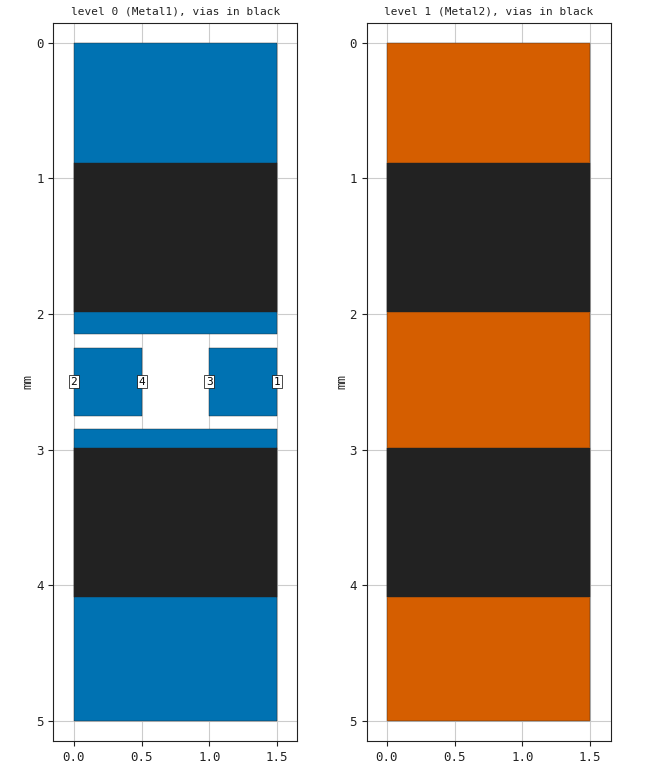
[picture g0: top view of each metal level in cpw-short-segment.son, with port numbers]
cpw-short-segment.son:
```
FTYP SONPROJ 17 ! Sonnet Project File
VER 17.52.2
HEADER
LIC antikernel2.1.48685 3cfdfeabd719 havequick azonenberg
DAT 12/26/2019 12:21:30
BUILT_BY_CREATED xgeom 16.56 07/03/2018 15:05:41
BUILT_BY_SAVED sonnet 17.52.2
MDATE 12/26/2019 12:21:30
HDATE 12/26/2019 12:21:30
ANN _gk:
ANN 
ANN disabled symmetry
ANN dleted lower air layer and internal groundplane
ANN using analysis box bottom cover as groundplane
ANN assigned the via rectangles to the Via1 tech layer
ANN stretched the via ends to connect with the east and west boxwalls
ANN made via rectangles symmetrical about Y
ANN defined new Copper_Gnd normal metal type
ANN changed box bottom cover from freespace to Copper_Gnd
ANN 
ANN _gk2:
ANN 
ANN per Matt crash is caused by incorrect port handling with symmetry, component below the line of symmetry, and ABS.
ANN most efficient workaround is to delete the resistor components below the line of symmetry
ANN then symmetry can still be used
ANN this is what i did in this model
ANN 
ANN 
ANN 
END HEADER
DIM
ANG DEG
CAP PF
CON /OH
FREQ GHZ
IND NH
LNG MM
RES OH
END DIM
CONTROL
VARSWP
OPTIONS  -dj
SPEED 0
CACHE_ABS 1
Q_ACC N
END CONTROL
GEO
SYM
TMET "Free Space" 0 FREESPACE 376.7303136 0 0 0
BMET "Copper_Gnd" 2 NOR 58000000 0 0.035 
MET "Copper" 1 TMM 58000000 0.5 0.035 3
BOX 2 1.5 5 120 400 20 0
      1 1 1 0 0 0 0 "Air"
      0.508 3.66 1 0.0037 0 0 0 "Rogers RO4350B"
      1 1 1 0 0 0 0 "Air"
TECHLAY METAL Metal1 <UNSPECIFIED> -2 0 
0 0 0 N 0 1 1 100 100 0 0 0 Y
END
END
TECHLAY VIA Via1 <UNSPECIFIED> -4 0 
VIA POLYGON
0 0 -1 N 0 1 1 100 100 0 0 0 Y
TOLEVEL 1 RING NOCOVERS
END
END
TECHLAY METAL Metal2 <UNSPECIFIED> -3 0 
1 0 -1 N 0 1 1 100 100 0 0 0 Y
END
END
LORGN 0 250 U 
POR1 BOX
POLY 77 1
1
1 50 0 0 0 1.5 2.5 
POR1 CUP Auto
SIMPLE Y
GNDREF AUTO
TERMW FEED
POLY 77 1
3
3 50 0 0 0 1 2.5 
CUPGRP "Auto" LOCAL
ID 80
END
POR1 BOX
POLY 81 1
3
2 50 0 0 0 0 2.5 
POR1 CUP Auto
SIMPLE Y
GNDREF AUTO
TERMW FEED
POLY 81 1
1
4 50 0 0 0 0.5 2.5 
CUPGRP "Auto" LOCAL
ID 84
END
NUM 7
0 5 0 N 75 1 1 100 100 0 0 0 Y
TLAYNAM Metal1 INH
0 0
1.5 0
1.5 2.15
0 2.15
0 0
END
0 5 0 N 76 1 1 100 100 0 0 0 Y
TLAYNAM Metal1 INH
0 2.85
1.5 2.85
1.5 5
0 5
0 2.85
END
0 5 0 N 77 1 1 100 100 0 0 0 Y
TLAYNAM Metal1 INH
1 2.25
1.5 2.25
1.5 2.75
1 2.75
1 2.25
END
0 5 0 N 81 1 1 100 100 0 0 0 Y
TLAYNAM Metal1 INH
0 2.25
0.5 2.25
0.5 2.75
0 2.75
0 2.25
END
VIA POLYGON
0 5 -1 N 86 1 1 100 100 0 0 0 Y
TOLEVEL 1 RING NOCOVERS
TLAYNAM Via1 INH
0 2.9875
1.5 2.9875
1.5 4.0875
0 4.0875
0 2.9875
END
VIA POLYGON
0 5 -1 N 87 1 1 100 100 0 0 0 Y
TOLEVEL 1 RING NOCOVERS
TLAYNAM Via1 INH
0 0.8875
1.5 0.8875
1.5 1.9875
0 1.9875
0 0.8875
END
1 5 -1 N 90 1 1 100 100 0 0 0 Y
TLAYNAM Metal2 INH
0 0
1.5 0
1.5 5
0 5
0 0
END
END GEO
OPT
MAX 100
END OPT
VARSWP
ENABLED Y
FREQ Y AY ABS_ENTRY 0.1 10.0 -1 300 
END
END VARSWP
FILEOUT
FOLDER .
END FILEOUT
```
